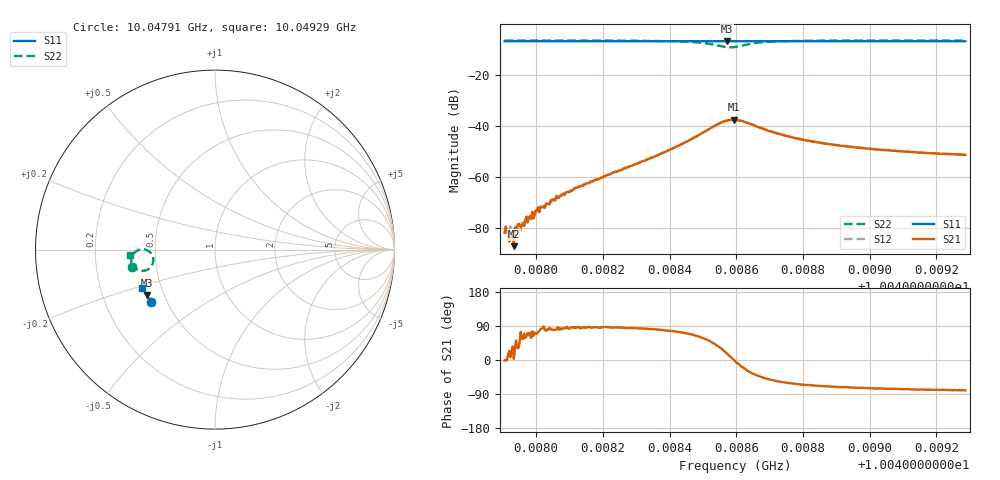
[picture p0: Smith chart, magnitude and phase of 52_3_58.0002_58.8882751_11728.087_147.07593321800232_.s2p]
#  HZ  S  RI  R  50.00
! Rohde & Schwarz Vector Network Analyzer
! Rohde-Schwarz,ZNB20-2Port,1311601062101988,3.16
! Created: UTC 3/21/2024, 12:52:38 AM
! freq[Hz]  re:S11  im:S11  re:S21  im:S21  re:S12  im:S12  re:S22  im:S22
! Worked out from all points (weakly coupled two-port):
!   401 points, 10.04791 GHz to 10.04929 GHz, reference 50 ohm
!   highest |S21| = -37.58 dB at 10.04859 GHz (marker M1); lowest = -87.2 dB at 10.04793 GHz (marker M2)
!   lowest |S11| = -6.8 dB at 10.04857 GHz (marker M3), VSWR 2.68, Z = 20.1 - j12.8 ohm
!   |S11| at or under -10 dB: nowhere
!   |S22| runs from -9.2 to -6.5 dB; largest |S21 - S12| = 0.001
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1.0047906e10  -0.3565 -0.2899  8.05e-05 -1.9e-06  7.52e-05 -1.01e-05  -0.4651 -0.0944
1.0047933e10  -0.3578 -0.2885  4.35e-05 2.33e-06  7.19e-05 8.76e-06  -0.4655 -0.092
1.0047947e10  -0.3583 -0.2876  0.000103 6.26e-05  6.67e-05 5e-05  -0.4657 -0.091
1.0047961e10  -0.3589 -0.287  6.82e-05 9.75e-05  5.18e-05 0.00011  -0.4658 -0.0897
1.0047975e10  -0.3594 -0.2861  4.05e-05 0.000121  4.33e-05 0.000157  -0.466 -0.0885
1.0047988e10  -0.36 -0.2853  5.11e-05 0.0002  5.98e-05 0.000158  -0.466 -0.0872
1.0047999e10  -0.3603 -0.2849  7.78e-05 0.0002  5.37e-05 0.000212  -0.4662 -0.0863
1.0048006e10  -0.3607 -0.2845  7.2e-05 0.000241  2.43e-05 0.000239  -0.4662 -0.0856
1.0048057e10  -0.3628 -0.2817  6.38e-05 0.000339  1.63e-05 0.000383  -0.4667 -0.0809
1.0048137e10  -0.3658 -0.2774  5.5e-05 0.000666  2.78e-05 0.000678  -0.4668 -0.0729
1.0048368e10  -0.3746 -0.2645  0.000464 0.0027  0.000335 0.00273  -0.4616 -0.0388
1.0048486e10  -0.3787 -0.2578  0.00304 0.00575  0.0027 0.00594  -0.433 -0.00551
1.0048548e10  -0.3802 -0.254  0.00911 0.00627  0.00868 0.0068  -0.3741 -0.00563
1.0048572e10  -0.3806 -0.2528  0.012 0.0037  0.012 0.00446  -0.3487 -0.0334
1.0048593e10  -0.3812 -0.2521  0.0132 9.85e-05  0.0133 0.00102  -0.3443 -0.0689
1.0048596e10  -0.3814 -0.252  0.0132 -0.000655  0.0131 0.000332  -0.3457 -0.0747
1.0048634e10  -0.3829 -0.2504  0.01 -0.00546  0.0105 -0.0048  -0.3822 -0.1144
1.0048683e10  -0.3848 -0.2479  0.00588 -0.00636  0.00639 -0.00606  -0.4243 -0.115
1.0048748e10  -0.3875 -0.2441  0.00324 -0.00549  0.00359 -0.00536  -0.4497 -0.0987
1.0048828e10  -0.3903 -0.2395  0.00193 -0.00454  0.00223 -0.00446  -0.4612 -0.0821
1.0049059e10  -0.3978 -0.2259  0.000811 -0.0032  0.000985 -0.00315  -0.4709 -0.052
1.0049287e10  -0.4048 -0.2125  0.000454 -0.00266  0.000624 -0.00269  -0.4736 -0.0312
